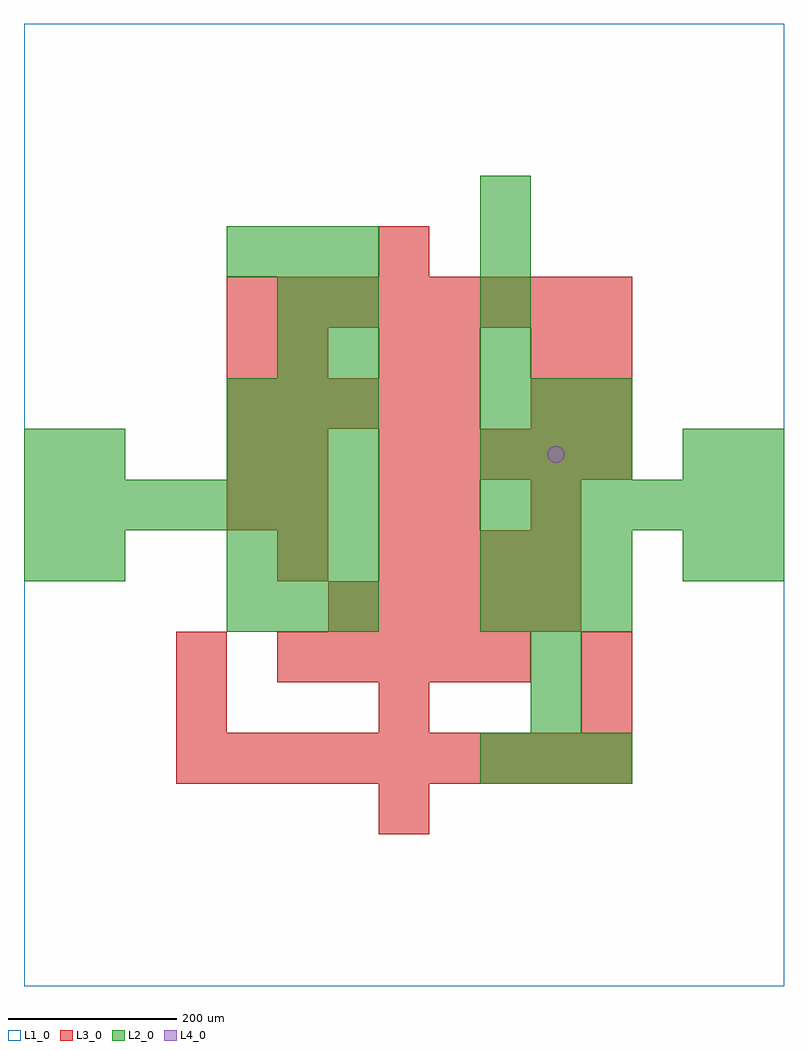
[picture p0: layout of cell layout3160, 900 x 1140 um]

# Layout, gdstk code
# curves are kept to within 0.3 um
import gdstk
lib = gdstk.Library(unit=1e-6, precision=1e-09)
def R(c, l, rs):  # rectangles x0, y0, x1, y1
    for r in rs: c.add(gdstk.rectangle(r[:2], r[2:], *l))
def A(c, l, x, y, w, h, nx, ny, dx, dy):  # array of equal rectangles
    R(c, l, [(x+i*dx, y+j*dy, x+i*dx+w, y+j*dy+h) for i in range(nx) for j in range(ny)])
def P(c, l, *ps):  # polygons
    for p in ps: c.add(gdstk.Polygon(p, *l))
L1_0 = (1, 0)
L2_0 = (2, 0)
L3_0 = (3, 0)
L4_0 = (4, 0)

layout3160 = lib.new_cell('layout3160')
R(layout3160, L1_0, [(0,0,900,1140)])
A(layout3160, L2_0, 540, 240, 60, 60, 3, 2, 60, 180)
A(layout3160, L2_0, 240, 420, 60, 60, 3, 2, 60, 60)
A(layout3160, L2_0, 540, 480, 60, 60, 3, 2, 60, 120)
A(layout3160, L2_0, 0, 540, 60, 60, 7, 1, 60, 0)
A(layout3160, L2_0, 540, 540, 60, 60, 6, 1, 60, 0)
A(layout3160, L2_0, 240, 600, 60, 60, 3, 2, 60, 60)
A(layout3160, L2_0, 540, 660, 60, 60, 3, 1, 60, 0)
A(layout3160, L2_0, 540, 720, 60, 60, 1, 4, 0, 60)
A(layout3160, L2_0, 240, 840, 60, 60, 3, 1, 60, 0)
R(layout3160, L2_0, [(600,300,660,360), (600,360,660,420), (0,480,60,540), (60,480,120,540), (780,480,840,540), (840,480,900,540), (0,600,60,660), (60,600,120,660), (780,600,840,660), (840,600,900,660), (300,720,360,780), (360,720,420,780), (300,780,360,840), (360,780,420,840)])
A(layout3160, L3_0, 180, 240, 60, 60, 9, 1, 60, 0)
A(layout3160, L3_0, 180, 300, 60, 60, 3, 1, 240, 0)
A(layout3160, L3_0, 300, 360, 60, 60, 5, 1, 60, 0)
A(layout3160, L3_0, 360, 420, 60, 60, 5, 1, 60, 0)
A(layout3160, L3_0, 300, 480, 60, 60, 1, 3, 0, 60)
A(layout3160, L3_0, 420, 480, 60, 60, 4, 1, 60, 0)
A(layout3160, L3_0, 420, 600, 60, 60, 5, 1, 60, 0)
A(layout3160, L3_0, 240, 660, 60, 60, 5, 1, 60, 0)
A(layout3160, L3_0, 240, 780, 60, 60, 8, 1, 60, 0)
R(layout3160, L3_0, [(420,180,480,240), (180,360,240,420), (660,360,720,420), (240,540,300,600), (420,540,480,600), (480,540,540,600), (600,540,660,600), (240,600,300,660), (600,660,660,720), (660,660,720,720), (240,720,300,780), (300,720,360,780), (420,720,480,780), (480,720,540,780), (600,720,660,780), (660,720,720,780), (420,840,480,900)])
P(layout3160, L4_0, [(640,630),(639.239,633.827),(637.071,637.071),(633.827,639.239),(630,640),(626.173,639.239),(622.929,637.071),(620.761,633.827),(620,630),(620.761,626.173),(622.929,622.929),(626.173,620.761),(630,620),(633.827,620.761),(637.071,622.929),(639.239,626.173)])

lib.write_gds('layout3160.gds')
